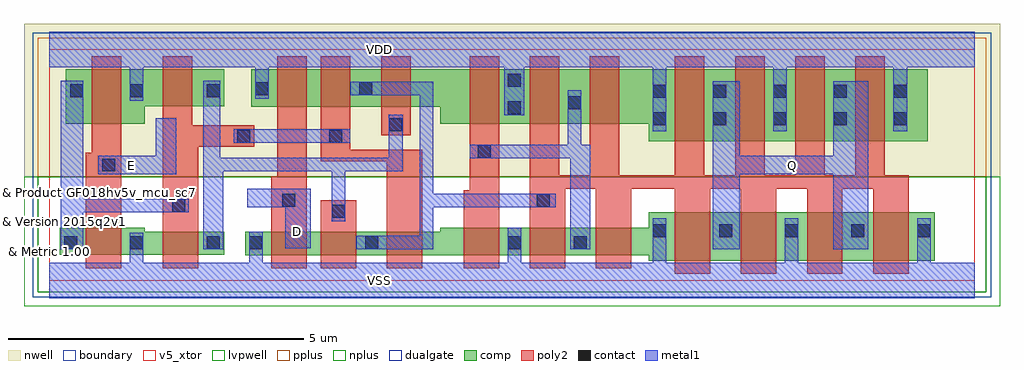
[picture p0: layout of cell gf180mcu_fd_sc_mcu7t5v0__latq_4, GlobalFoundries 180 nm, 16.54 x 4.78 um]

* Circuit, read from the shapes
.subckt gf180mcu_fd_sc_mcu7t5v0__latq_4 D E Q VDD VSS
XM1 VSS E n1 VSUBS nfet_05v0 w=0.46u l=0.6u
XM2 n2 n1 VSS VSUBS nfet_05v0 w=0.39u l=0.6u
XM3 n3 D VSS VSUBS nfet_05v0 w=0.395u l=0.6u
XM4 n4 n2 n3 VSUBS nfet_05v0 w=0.395u l=0.6u
XM5 n5 n1 n4 VSUBS nfet_05v0 w=0.395u l=0.6u
XM6 VSS n6 n5 VSUBS nfet_05v0 w=0.465u l=0.6u
XM7 n6 n4 VSS VSUBS nfet_05v0 w=0.465u l=0.6u m=2
XM8 Q n4 VSS VSUBS nfet_05v0 w=0.82u l=0.6u m=4
XM9 VDD E n1 n7 pfet_05v0 w=0.92u l=0.5u
XM10 n2 n1 VDD n7 pfet_05v0 w=0.625u l=0.5u
XM11 n8 D VDD n7 pfet_05v0 w=0.63u l=0.5u
XM12 n4 n1 n8 n7 pfet_05v0 w=0.63u l=0.5u
XM13 n9 n2 n4 n7 pfet_05v0 w=0.63u l=0.5u
XM14 VDD n6 n9 n7 pfet_05v0 w=0.925u l=0.5u
XM15 n6 n4 VDD n7 pfet_05v0 w=0.925u l=0.5u m=2
XM16 Q n4 VDD n7 pfet_05v0 w=1.22u l=0.5u m=4
.ends

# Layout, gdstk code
import gdstk
lib = gdstk.Library(unit=1e-6, precision=1e-09)
def R(c, l, rs):  # rectangles x0, y0, x1, y1
    for r in rs: c.add(gdstk.rectangle(r[:2], r[2:], *l))
def A(c, l, x, y, w, h, nx, ny, dx, dy):  # array of equal rectangles
    R(c, l, [(x+i*dx, y+j*dy, x+i*dx+w, y+j*dy+h) for i in range(nx) for j in range(ny)])
def P(c, l, *ps):  # polygons
    for p in ps: c.add(gdstk.Polygon(p, *l))
boundary = (0, 0)
nwell = (21, 0)
comp = (22, 0)
poly2 = (30, 0)
pplus = (31, 0)
nplus = (32, 0)
contact = (33, 0)
metal1 = (34, 0)
dualgate = (55, 0)
v5_xtor = (112, 1)
lvpwell = (204, 0)

gf180mcu_fd_sc_mcu7t5v0_ = lib.new_cell('gf180mcu_fd_sc_mcu7t5v0__latq_4')
R(gf180mcu_fd_sc_mcu7t5v0_, boundary, [(0,0,15.68,3.92)])
R(gf180mcu_fd_sc_mcu7t5v0_, nwell, [(-0.43,1.76,16.11,4.35)])
P(gf180mcu_fd_sc_mcu7t5v0_, comp, [(0.18,0.435),(0.18,0.895),(1.62,0.895),(1.62,0.825),(2.96,0.825),(2.96,0.435)],
  [(0.28,2.66),(0.28,3.58),(2.96,3.58),(2.96,2.955),(1.62,2.955),(1.62,2.66)],
  [(10.16,2.36),(10.16,2.655),(6.62,2.655),(6.62,2.95),(3.42,2.95),(3.42,3.58),(14.885,3.58),(14.885,2.36)],
  [(10.16,0.34),(10.16,0.43),(3.32,0.43),(3.32,0.825),(6.62,0.825),(6.62,0.895),(10.16,0.895),(10.16,1.16),(15,1.16),(15,0.34)])
R(gf180mcu_fd_sc_mcu7t5v0_, poly2, [(4.6,0.21,5.2,1.36), (5.62,2.46,6.12,3.8)])
P(gf180mcu_fd_sc_mcu7t5v0_, poly2, [(0.62,0.21),(0.62,2.165),(0.72,2.165),(0.72,3.8),(1.22,3.8),(1.22,0.21)],
  [(1.92,0.21),(1.92,3.8),(2.42,3.8),(2.42,2.63),(3.475,2.63),(3.475,2.27),(2.52,2.27),(2.52,0.21)],
  [(3.76,0.21),(3.76,1.76),(3.86,1.76),(3.86,3.8),(4.36,3.8),(4.36,0.21)],
  [(5.72,0.21),(5.72,2.02),(4.6,2.02),(4.6,3.8),(5.1,3.8),(5.1,2.22),(6.32,2.22),(6.32,0.21)],
  [(7.02,0.21),(7.02,1.535),(7.12,1.535),(7.12,3.8),(7.62,3.8),(7.62,0.21)],
  [(10.6,0.12),(10.6,1.555),(9.86,1.555),(9.86,0.21),(9.26,0.21),(9.26,1.555),(8.74,1.555),(8.74,0.21),(8.14,0.21),(8.14,3.8),(8.64,3.8),(8.64,1.785),(9.16,1.785),(9.16,3.8),(9.66,3.8),(9.66,1.785),(10.6,1.785),(10.6,3.8),(11.1,3.8),(11.1,1.785),(11.62,1.785),(11.62,3.8),(12.12,3.8),(12.12,1.785),(12.64,1.785),(12.64,3.8),(13.14,3.8),(13.14,1.785),(13.66,1.785),(13.66,3.8),(14.16,3.8),(14.16,1.785),(14.56,1.785),(14.56,0.12),(13.96,0.12),(13.96,1.555),(13.44,1.555),(13.44,0.12),(12.84,0.12),(12.84,1.555),(12.32,1.555),(12.32,0.12),(11.72,0.12),(11.72,1.555),(11.2,1.555),(11.2,0.12)])
R(gf180mcu_fd_sc_mcu7t5v0_, pplus, [(-0.2,1.76,15.88,4.12)])
R(gf180mcu_fd_sc_mcu7t5v0_, nplus, [(-0.2,-0.2,15.88,1.76)])
A(gf180mcu_fd_sc_mcu7t5v0_, contact, 10.23, 0.735, 0.22, 0.22, 5, 1, 1.12, 0)
A(gf180mcu_fd_sc_mcu7t5v0_, contact, 10.23, 2.63, 0.22, 0.22, 5, 2, 1.02, 0.47)
R(gf180mcu_fd_sc_mcu7t5v0_, contact, [(0.25,0.535,0.47,0.755), (1.37,0.535,1.59,0.755), (2.67,0.535,2.89,0.755), (3.39,0.535,3.61,0.755), (5.35,0.535,5.57,0.755), (7.77,0.535,7.99,0.755), (8.89,0.535,9.11,0.755), (4.79,1.07,5.01,1.29), (2.08,1.165,2.3,1.385), (3.95,1.25,4.17,1.47), (8.26,1.25,8.48,1.47), (0.9,1.85,1.12,2.07), (7.26,2.08,7.48,2.3), (3.185,2.34,3.405,2.56), (4.74,2.34,4.96,2.56), (5.76,2.53,5.98,2.75), (7.77,2.82,7.99,3.04), (8.79,2.905,9.01,3.125), (0.35,3.11,0.57,3.33), (1.37,3.11,1.59,3.33), (2.67,3.11,2.89,3.33), (3.49,3.145,3.71,3.365), (5.25,3.145,5.47,3.365), (7.77,3.29,7.99,3.51)])
R(gf180mcu_fd_sc_mcu7t5v0_, metal1, [(3.125,2.335,5.1,2.565)])
P(gf180mcu_fd_sc_mcu7t5v0_, metal1, [(0.825,1.8),(0.825,2.12),(1.8,2.12),(1.8,2.75),(2.15,2.75),(2.15,1.8)],
  [(0.19,0.53),(0.19,3.39),(0.575,3.39),(0.575,1.39),(2.36,1.39),(2.36,1.16),(0.575,1.16),(0.575,0.53)],
  [(4,0.55),(4,1.24),(3.35,1.24),(3.35,1.56),(4.43,1.56),(4.43,0.55)],
  [(2.61,0.53),(2.61,3.39),(2.895,3.39),(2.895,2.085),(5.755,2.085),(5.755,2.81),(5.985,2.81),(5.985,1.855),(5.015,1.855),(5.015,1.01),(4.785,1.01),(4.785,1.855),(2.95,1.855),(2.95,0.53)],
  [(5.2,0.53),(5.2,0.76),(6.275,0.76),(6.275,3.14),(5.1,3.14),(5.1,3.37),(6.505,3.37),(6.505,1.475),(8.58,1.475),(8.58,1.245),(6.505,1.245),(6.505,0.53)],
  [(8.83,0.53),(8.83,2.075),(7.12,2.075),(7.12,2.305),(8.785,2.305),(8.785,3.225),(9.015,3.225),(9.015,2.305),(9.17,2.305),(9.17,0.53)],
  [(11.24,0.53),(11.24,3.38),(11.7,3.38),(11.7,2.12),(13.28,2.12),(13.28,3.38),(13.88,3.38),(13.88,0.53),(13.28,0.53),(13.28,1.8),(11.7,1.8),(11.7,0.53)],
  [(0,-0.3),(0,0.3),(1.365,0.3),(1.365,0.815),(1.595,0.815),(1.595,0.3),(3.385,0.3),(3.385,0.825),(3.615,0.825),(3.615,0.3),(7.765,0.3),(7.765,0.895),(7.995,0.895),(7.995,0.3),(10.225,0.3),(10.225,1.055),(10.455,1.055),(10.455,0.3),(12.465,0.3),(12.465,1.055),(12.695,1.055),(12.695,0.3),(14.705,0.3),(14.705,1.055),(14.935,1.055),(14.935,0.3),(15.68,0.3),(15.68,-0.3)],
  [(10.225,2.53),(10.225,3.62),(8.05,3.62),(8.05,2.805),(7.705,2.805),(7.705,3.62),(3.715,3.62),(3.715,3.085),(3.485,3.085),(3.485,3.62),(1.595,3.62),(1.595,3.05),(1.365,3.05),(1.365,3.62),(0,3.62),(0,4.22),(15.68,4.22),(15.68,3.62),(14.535,3.62),(14.535,2.53),(14.305,2.53),(14.305,3.62),(12.495,3.62),(12.495,2.53),(12.265,2.53),(12.265,3.62),(10.455,3.62),(10.455,2.53)])
R(gf180mcu_fd_sc_mcu7t5v0_, dualgate, [(-0.28,-0.28,15.96,4.2)])
R(gf180mcu_fd_sc_mcu7t5v0_, v5_xtor, [(0,0,15.68,3.92)])
R(gf180mcu_fd_sc_mcu7t5v0_, lvpwell, [(-0.43,-0.43,16.11,1.76)])
gf180mcu_fd_sc_mcu7t5v0_.add(gdstk.Label('Q', (12.6,1.96), layer=34, texttype=10))
gf180mcu_fd_sc_mcu7t5v0_.add(gdstk.Label('VDD', (5.6,3.92), layer=34, texttype=10))
gf180mcu_fd_sc_mcu7t5v0_.add(gdstk.Label('VSS', (5.6,0), layer=34, texttype=10))
gf180mcu_fd_sc_mcu7t5v0_.add(gdstk.Label('D', (4.2,0.84), layer=34, texttype=10))
gf180mcu_fd_sc_mcu7t5v0_.add(gdstk.Label('E', (1.4,1.96), layer=34, texttype=10))
gf180mcu_fd_sc_mcu7t5v0_.add(gdstk.Label('& Vendor GLOBALFOUNDRIES', (0,2), layer=63, texttype=63))
gf180mcu_fd_sc_mcu7t5v0_.add(gdstk.Label('& Product GF018hv5v_mcu_sc7', (0,1.5), layer=63, texttype=63))
gf180mcu_fd_sc_mcu7t5v0_.add(gdstk.Label('& Version 2015q2v1', (0,1), layer=63, texttype=63))
gf180mcu_fd_sc_mcu7t5v0_.add(gdstk.Label('& Metric 1.00', (0,0.5), layer=63, texttype=63))

lib.write_gds('gf180mcu_fd_sc_mcu7t5v0__latq_4.gds')
